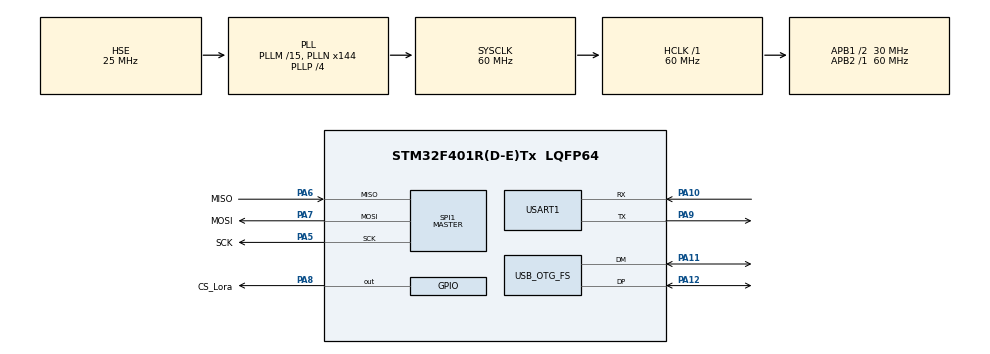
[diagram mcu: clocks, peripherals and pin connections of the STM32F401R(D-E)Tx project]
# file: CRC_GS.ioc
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Mcu.Family=STM32F4
Mcu.Name=STM32F401R(D-E)Tx
Mcu.Package=LQFP64
NVIC.OTG_FS_IRQn=true\:0\:0\:false\:false\:true\:false\:true\:true
NVIC.PriorityGroup=NVIC_PRIORITYGROUP_4
PA10.Mode=Asynchronous
PA10.Signal=USART1_RX
PA11.Mode=Device_Only
PA11.Signal=USB_OTG_FS_DM
PA12.Mode=Device_Only
PA12.Signal=USB_OTG_FS_DP
PA13.Mode=Serial_Wire
PA13.Signal=SYS_JTMS-SWDIO
PA14.Mode=Serial_Wire
PA14.Signal=SYS_JTCK-SWCLK
PA5.GPIO_Label=SCK
PA5.Mode=Full_Duplex_Master
PA5.Signal=SPI1_SCK
PA6.GPIO_Label=MISO
PA6.Mode=Full_Duplex_Master
PA6.Signal=SPI1_MISO
PA7.GPIO_Label=MOSI
PA7.Mode=Full_Duplex_Master
PA7.Signal=SPI1_MOSI
PA8.GPIO_Label=CS_Lora
PA8.PinState=GPIO_PIN_SET
PA8.Signal=GPIO_Output
PA9.Mode=Asynchronous
PA9.Signal=USART1_TX
PH0\ -\ OSC_IN.Mode=HSE-External-Oscillator
PH0\ -\ OSC_IN.Signal=RCC_OSC_IN
PH1\ -\ OSC_OUT.Mode=HSE-External-Oscillator
PH1\ -\ OSC_OUT.Signal=RCC_OSC_OUT
ProjectManager.HeapSize=0x200
ProjectManager.StackSize=0x400
ProjectManager.TargetToolchain=STM32CubeIDE
RCC.48MHZClocksFreq_Value=48000000
RCC.AHBFreq_Value=60000000
RCC.APB1CLKDivider=RCC_HCLK_DIV2
RCC.APB1Freq_Value=30000000
RCC.APB1TimFreq_Value=60000000
RCC.APB2Freq_Value=60000000
RCC.APB2TimFreq_Value=60000000
RCC.CortexFreq_Value=60000000
RCC.HCLKFreq_Value=60000000
RCC.HSE_VALUE=25000000
RCC.HSI_VALUE=16000000
RCC.LSE_VALUE=32768
RCC.PLLM=15
RCC.PLLN=144
RCC.PLLP=RCC_PLLP_DIV4
RCC.PLLQ=5
RCC.SYSCLKFreq_VALUE=60000000
RCC.SYSCLKSource=RCC_SYSCLKSOURCE_PLLCLK
RCC.VCOOutputFreq_Value=240000000
SPI1.BaudRatePrescaler=SPI_BAUDRATEPRESCALER_8
SPI1.Direction=SPI_DIRECTION_2LINES
SPI1.Mode=SPI_MODE_MASTER
SPI1.VirtualType=VM_MASTER
USART1.VirtualMode=VM_ASYNC
USB_DEVICE.CLASS_NAME_FS=CDC
USB_DEVICE.VirtualMode-CDC_FS=Cdc
USB_DEVICE.VirtualModeFS=Cdc_FS
USB_OTG_FS.VirtualMode=Device_Only
VP_USB_DEVICE_VS_USB_DEVICE_CDC_FS.Mode=CDC_FS
board=custom

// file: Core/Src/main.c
/* USER CODE BEGIN Header */
/**
  ******************************************************************************
  * @file           : main.c
  * @brief          : Main program body
  ******************************************************************************
  * @attention
  *
  * Copyright (c) 2026 STMicroelectronics.
  * All rights reserved.
  *
  * This software is licensed under terms that can be found in the LICENSE file
  * in the root directory of this software component.
  * If no LICENSE file comes with this software, it is provided AS-IS.
  *
  ******************************************************************************
  */
/* USER CODE END Header */
#include "main.h"
#include "usb_device.h"

/* USER CODE BEGIN Includes */
#include "usbd_cdc_if.h"
#include <stdlib.h>
#include "LoRa.h"
/* USER CODE END Includes */

SPI_HandleTypeDef hspi1;

UART_HandleTypeDef huart1;

/* USER CODE BEGIN PV */
LoRa myLoRa;
uint8_t send_data[128];
int			RSSI;
uint8_t isSend = 0;

// NOWE: Bufor dla danych przychodzących z USB
volatile uint8_t usb_rx_buffer[256];
volatile uint16_t usb_rx_head = 0;
volatile uint16_t usb_rx_tail = 0;

// NOWE: Funkcja emulująca HAL_UART_Receive dla USB
HAL_StatusTypeDef HAL_USB_Receive(uint8_t *pData, uint16_t Size, uint32_t Timeout)
{
    uint32_t tickstart = HAL_GetTick();
    uint16_t bytes_read = 0;

    while (bytes_read < Size)
    {
        // Sprawdź czy są nowe dane w buforze
        if (usb_rx_head != usb_rx_tail)
        {
            pData[bytes_read++] = usb_rx_buffer[usb_rx_tail];
            usb_rx_tail = (usb_rx_tail + 1) % 256;
        }

        // Sprawdzenie timeoutu
        if ((Timeout != HAL_MAX_DELAY) && ((HAL_GetTick() - tickstart) > Timeout))
        {
            return HAL_TIMEOUT;
        }
    }
    return HAL_OK;
}
/* USER CODE END PV */

void SystemClock_Config(void);
static void MX_GPIO_Init(void);
static void MX_SPI1_Init(void);
static void MX_USART1_UART_Init(void);

int main(void)
{

  /* MCU Configuration--------------------------------------------------------*/

  /* Reset of all peripherals, Initializes the Flash interface and the Systick. */
  HAL_Init();

  /* Configure the system clock */
  SystemClock_Config();

  /* Initialize all configured peripherals */
  MX_GPIO_Init();
  MX_SPI1_Init();
  MX_USART1_UART_Init();
  MX_USB_DEVICE_Init();
  /* USER CODE BEGIN 2 */
  // MODULE SETTINGS ----------------------------------------------
  	myLoRa = newLoRa();

  	myLoRa.hSPIx                 = &hspi1;
  	myLoRa.CS_port               = CS_Lora_GPIO_Port;
  	myLoRa.CS_pin                = CS_Lora_Pin;

  	myLoRa.frequency             = 433;							  // default = 433 MHz
  	myLoRa.spredingFactor        = SF_7;							// default = SF_7
  	myLoRa.bandWidth			       = BW_500KHz;				  // default = BW_125KHz
  	myLoRa.crcRate				       = CR_4_5;						// default = CR_4_5
  	myLoRa.power					       = POWER_20db;				// default = 20db
  	myLoRa.overCurrentProtection = 120; 							// default = 100 mA
  	myLoRa.preamble				       = 10;		  					// default = 8;

  	LoRa_reset(&myLoRa);
  	LoRa_init(&myLoRa);

  	// START CONTINUOUS RECEIVING -----------------------------------
  	LoRa_startReceiving(&myLoRa);
  	//send_data[0] = 0;
  	//---------------------------------------------------------------
  	char *init_msg = "Hello world1!\r\n";
  	CDC_Transmit_FS((uint8_t*)init_msg, strlen(init_msg));
  /* USER CODE END 2 */

  /* Infinite loop */
  /* USER CODE BEGIN WHILE */
  while (1)
  {
	  uint8_t read_data[128];
	  uint8_t bytesRecv = 0;

	  // 1. Odbiór z LoRa i wysłanie przez USB na PC
	  bytesRecv = LoRa_receive(&myLoRa, read_data, 128);
	  if(bytesRecv > 0)
	  {
		  CDC_Transmit_FS(read_data, bytesRecv);
		  // Krótkie opóźnienie, aby USB zdążyło przetworzyć pakiet przed kolejnymi operacjami
		  HAL_Delay(2);
	  }

	  // 2. Dokładnie ta sama logika co z UART – teraz przez USB
	  read_data[0] = 8;

	  // Zamiast HAL_UART_Receive używamy naszej funkcji emulującej dla USB
	  if(HAL_USB_Receive(read_data, 1, 100) == HAL_OK){
		  for(int i=0; i<6; i++){
			  LoRa_transmit(&myLoRa, read_data, 1, 500);
			  HAL_Delay(5);
		  }
	  }

	  HAL_Delay(25);
    /* USER CODE END WHILE */

  }
}

void SystemClock_Config(void)
{
  RCC_OscInitTypeDef RCC_OscInitStruct = {0};
  RCC_ClkInitTypeDef RCC_ClkInitStruct = {0};

  /** Configure the main internal regulator output voltage
  */
  __HAL_RCC_PWR_CLK_ENABLE();
  __HAL_PWR_VOLTAGESCALING_CONFIG(PWR_REGULATOR_VOLTAGE_SCALE2);

  /** Initializes the RCC Oscillators according to the specified parameters
  * in the RCC_OscInitTypeDef structure.
  */
  RCC_OscInitStruct.OscillatorType = RCC_OSCILLATORTYPE_HSE;
  RCC_OscInitStruct.HSEState = RCC_HSE_ON;
  RCC_OscInitStruct.PLL.PLLState = RCC_PLL_ON;
  RCC_OscInitStruct.PLL.PLLSource = RCC_PLLSOURCE_HSE;
  RCC_OscInitStruct.PLL.PLLM = 15;
  RCC_OscInitStruct.PLL.PLLN = 144;
  RCC_OscInitStruct.PLL.PLLP = RCC_PLLP_DIV4;
  RCC_OscInitStruct.PLL.PLLQ = 5;
  if (HAL_RCC_OscConfig(&RCC_OscInitStruct) != HAL_OK)
  {
    Error_Handler();
  }

  /** Initializes the CPU, AHB and APB buses clocks
  */
  RCC_ClkInitStruct.ClockType = RCC_CLOCKTYPE_HCLK|RCC_CLOCKTYPE_SYSCLK
                              |RCC_CLOCKTYPE_PCLK1|RCC_CLOCKTYPE_PCLK2;
  RCC_ClkInitStruct.SYSCLKSource = RCC_SYSCLKSOURCE_PLLCLK;
  RCC_ClkInitStruct.AHBCLKDivider = RCC_SYSCLK_DIV1;
  RCC_ClkInitStruct.APB1CLKDivider = RCC_HCLK_DIV2;
  RCC_ClkInitStruct.APB2CLKDivider = RCC_HCLK_DIV1;

  if (HAL_RCC_ClockConfig(&RCC_ClkInitStruct, FLASH_LATENCY_1) != HAL_OK)
  {
    Error_Handler();
  }
}

static void MX_SPI1_Init(void)
{

  /* SPI1 parameter configuration*/
  hspi1.Instance = SPI1;
  hspi1.Init.Mode = SPI_MODE_MASTER;
  hspi1.Init.Direction = SPI_DIRECTION_2LINES;
  hspi1.Init.DataSize = SPI_DATASIZE_8BIT;
  hspi1.Init.CLKPolarity = SPI_POLARITY_LOW;
  hspi1.Init.CLKPhase = SPI_PHASE_1EDGE;
  hspi1.Init.NSS = SPI_NSS_SOFT;
  hspi1.Init.BaudRatePrescaler = SPI_BAUDRATEPRESCALER_8;
  hspi1.Init.FirstBit = SPI_FIRSTBIT_MSB;
  hspi1.Init.TIMode = SPI_TIMODE_DISABLE;
  hspi1.Init.CRCCalculation = SPI_CRCCALCULATION_DISABLE;
  hspi1.Init.CRCPolynomial = 10;
  if (HAL_SPI_Init(&hspi1) != HAL_OK)
  {
    Error_Handler();
  }

}

static void MX_USART1_UART_Init(void)
{

  huart1.Instance = USART1;
  huart1.Init.BaudRate = 115200;
  huart1.Init.WordLength = UART_WORDLENGTH_8B;
  huart1.Init.StopBits = UART_STOPBITS_1;
  huart1.Init.Parity = UART_PARITY_NONE;
  huart1.Init.Mode = UART_MODE_TX_RX;
  huart1.Init.HwFlowCtl = UART_HWCONTROL_NONE;
  huart1.Init.OverSampling = UART_OVERSAMPLING_16;
  if (HAL_UART_Init(&huart1) != HAL_OK)
  {
    Error_Handler();
  }

}

static void MX_GPIO_Init(void)
{
  GPIO_InitTypeDef GPIO_InitStruct = {0};

  /* GPIO Ports Clock Enable */
  __HAL_RCC_GPIOH_CLK_ENABLE();
  __HAL_RCC_GPIOA_CLK_ENABLE();

  /*Configure GPIO pin Output Level */
  HAL_GPIO_WritePin(CS_Lora_GPIO_Port, CS_Lora_Pin, GPIO_PIN_SET);

  /*Configure GPIO pin : CS_Lora_Pin */
  GPIO_InitStruct.Pin = CS_Lora_Pin;
  GPIO_InitStruct.Mode = GPIO_MODE_OUTPUT_PP;
  GPIO_InitStruct.Pull = GPIO_NOPULL;
  GPIO_InitStruct.Speed = GPIO_SPEED_FREQ_LOW;
  HAL_GPIO_Init(CS_Lora_GPIO_Port, &GPIO_InitStruct);

}

void Error_Handler(void)
{
  __disable_irq();
  while (1)
  {
  }
}
